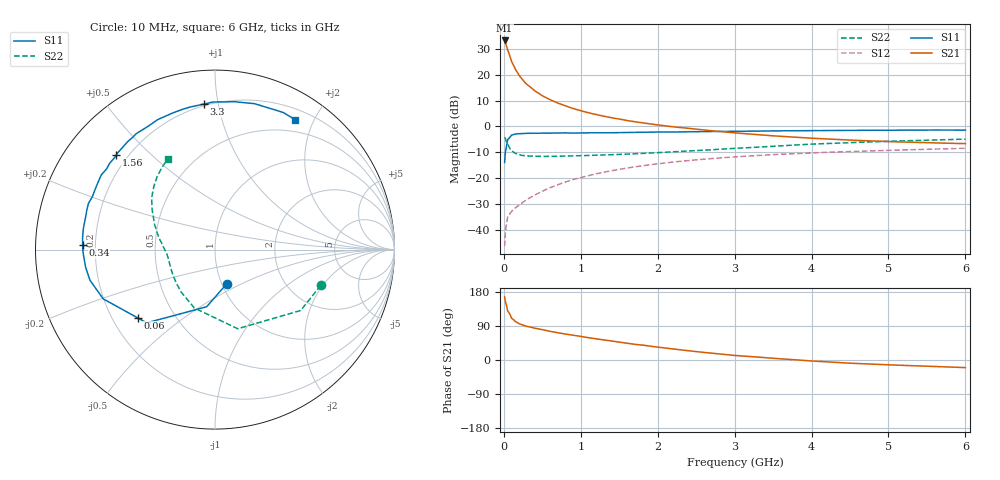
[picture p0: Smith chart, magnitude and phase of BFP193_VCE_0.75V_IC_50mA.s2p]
! Infineon Technologies  Discrete & RF Semiconductors
! BFP193
! VCE = 0.75V,  IC =  50 mA
! Common Emitter S-Parameters:  Jan 2016
# GHz  S  MA  R  50
!  f  S11  S21  S12  S22
! GHz  MAG  ANG  MAG  ANG  MAG  ANG  MAG  ANG
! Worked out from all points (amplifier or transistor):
!   210 points, 10 MHz to 6 GHz, reference 50 ohm
!   highest |S21| = 33.2 dB at 10 MHz (marker M1)
!   |S21| within 3 dB of that: start of sweep to 42.41 MHz
!   unconditionally stable (mu >= 1): start of sweep to 14.89 MHz; 250.8 MHz to end of sweep
!   at 185 MHz: K = 0.88, MSG = 25.5 dB, |S12| = -30.7 dB
!   at 1.52 GHz: K = 1.23, MAG = 6.7 dB, |S12| = -16.5 dB
!   at 6 GHz: K = 1.08, MAG = -0.8 dB, |S12| = -8.4 dB
!   S11 on the Smith chart (normalised r, x): 10 MHz: 1.05, -0.42; 60 MHz: 0.31, -0.35; 340 MHz: 0.15, +0.02; 1.56 GHz: 0.16, +0.39; 3.3 GHz: 0.19, +0.91; 6 GHz: 0.33, +1.74
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0.01  0.2019 -71.3  45.57 166.5  0.0049 70.9  0.6223 -18.6
0.02  0.3217 -98.3  41.87 153.7  0.0091 66.4  0.5856 -35.4
0.05  0.558 -133.0  29.86 129.2  0.0177 52.1  0.4588 -74.0
0.06  0.574 -138.4  27.32 126.7  0.0187 50.7  0.425 -79.4
0.1  0.6805 -156.2  18.03 110.2  0.023 46.4  0.3448 -109.6
0.15  0.7172 -166.2  12.58 101.3  0.0268 48.6  0.3031 -128.3
0.2  0.7274 -172.2  9.601 95.6  0.0304 50.1  0.2842 -139.7
0.24  0.7307 -175.6  8.071 92.6  0.0338 52.5  0.2763 -146.1
0.3  0.7368 -179.8  6.466 88.7  0.0391 55.9  0.2703 -152.6
0.34  0.7377 178.0  5.828 87.1  0.0423 57.4  0.2679 -155.6
0.4  0.7409 174.8  4.882 84.0  0.0472 59.2  0.2656 -160.1
0.5  0.7427 171.1  3.913 79.8  0.0562 60.9  0.2644 -164.8
0.6  0.7424 166.7  3.282 75.7  0.0658 62.1  0.2647 -168.0
0.8  0.7505 159.9  2.483 68.5  0.0846 61.8  0.2678 -172.6
1.02  0.7487 152.3  1.972 61.6  0.1052 60.5  0.2731 -176.6
1.56  0.7619 136.2  1.337 45.6  0.1539 54.2  0.2909 176.0
2.02  0.7806 123.7  1.059 33.6  0.1917 47.6  0.3131 169.5
3.1  0.8076 98.2  0.732 10.6  0.2639 32.0  0.3837 153.1
3.3  0.8133 94.4  0.695 7.7  0.2748 29.3  0.3987 150.2
4.1  0.8323 80.8  0.583 -3.7  0.3132 18.8  0.4619 139.4
5.1  0.8456 67.8  0.505 -13.5  0.3491 7.3  0.5221 127.5
6  0.8505 58.4  0.466 -20.1  0.3787 -2.5  0.5692 117.5
